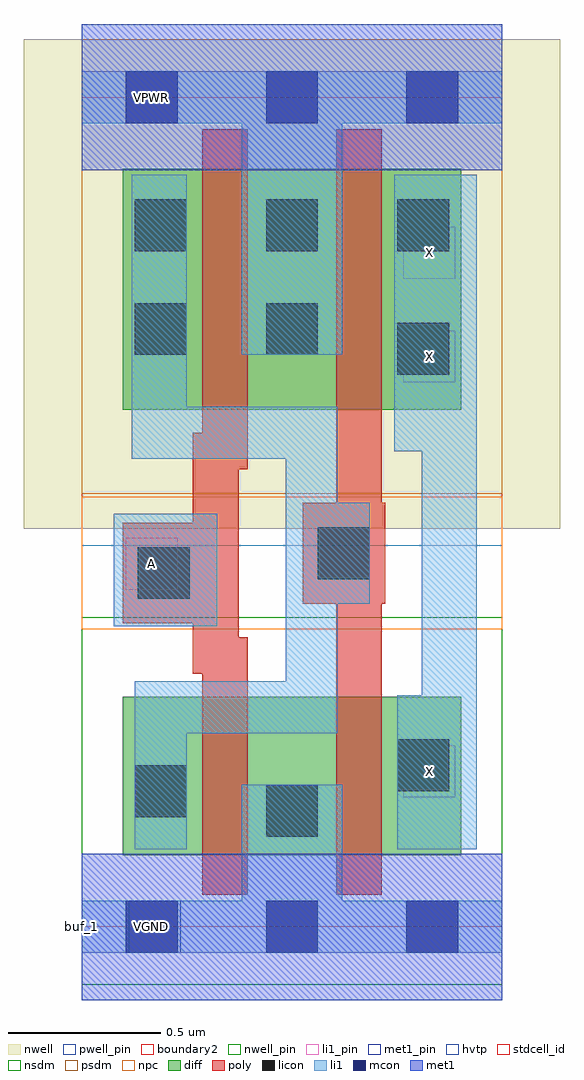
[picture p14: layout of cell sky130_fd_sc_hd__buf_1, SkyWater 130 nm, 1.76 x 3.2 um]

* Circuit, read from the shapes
.subckt sky130_fd_sc_hd__buf_1 A VGND VNB VPB VPWR X
XM1 VGND A n1 VNB sky130_fd_pr__nfet_01v8 w=0.52 l=0.15
XM2 X n1 VGND VNB sky130_fd_pr__nfet_01v8 w=0.52 l=0.15
XM3 VPWR A n1 VPB sky130_fd_pr__pfet_01v8_hvt w=0.79 l=0.15
XM4 X n1 VPWR VPB sky130_fd_pr__pfet_01v8_hvt w=0.79 l=0.15
.ends

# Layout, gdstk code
import gdstk
lib = gdstk.Library(unit=1e-6, precision=1e-09)
def R(c, l, rs):  # rectangles x0, y0, x1, y1
    for r in rs: c.add(gdstk.rectangle(r[:2], r[2:], *l))
def A(c, l, x, y, w, h, nx, ny, dx, dy):  # array of equal rectangles
    R(c, l, [(x+i*dx, y+j*dy, x+i*dx+w, y+j*dy+h) for i in range(nx) for j in range(ny)])
def P(c, l, *ps):  # polygons
    for p in ps: c.add(gdstk.Polygon(p, *l))
nwell_pin = (64, 16)
nwell = (64, 20)
diff = (65, 20)
poly = (66, 20)
licon = (66, 44)
li1_pin = (67, 16)
li1 = (67, 20)
mcon = (67, 44)
met1_pin = (68, 16)
met1 = (68, 20)
hvtp = (78, 44)
stdcell_id = (81, 4)
nsdm = (93, 44)
psdm = (94, 20)
npc = (95, 20)
pwell_pin = (122, 16)
boundary2 = (236, 0)

sky130_fd_sc_hd__buf_1 = lib.new_cell('sky130_fd_sc_hd__buf_1')
R(sky130_fd_sc_hd__buf_1, nwell_pin, [(0.145,2.635,0.315,2.805)])
R(sky130_fd_sc_hd__buf_1, nwell, [(-0.19,1.305,1.57,2.91)])
R(sky130_fd_sc_hd__buf_1, diff, [(0.135,0.235,1.245,0.755), (0.135,1.695,1.245,2.485)])
P(sky130_fd_sc_hd__buf_1, poly, [(0.995,1.39),(0.985,1.39),(0.985,2.615),(0.835,2.615),(0.835,1.39),(0.725,1.39),(0.725,1.06),(0.835,1.06),(0.835,0.105),(0.985,0.105),(0.985,1.06),(0.995,1.06)],
  [(0.545,0.95),(0.515,0.95),(0.515,1.5),(0.545,1.5),(0.545,2.615),(0.395,2.615),(0.395,1.62),(0.365,1.62),(0.365,1.325),(0.135,1.325),(0.135,0.995),(0.365,0.995),(0.365,0.83),(0.395,0.83),(0.395,0.105),(0.545,0.105)])
A(sky130_fd_sc_hd__buf_1, licon, 0.175, 2.215, 0.17, 0.17, 3, 1, 0.43, 0)
R(sky130_fd_sc_hd__buf_1, licon, [(0.605,0.295,0.775,0.465), (0.175,0.36,0.345,0.53), (1.035,0.445,1.205,0.615), (0.185,1.075,0.355,1.245), (0.775,1.14,0.945,1.31), (1.035,1.81,1.205,1.98), (0.175,1.875,0.345,2.045), (0.605,1.875,0.775,2.045)])
R(sky130_fd_sc_hd__buf_1, li1_pin, [(0.155,-0.085,0.325,0.085), (1.055,0.425,1.225,0.595), (0.145,1.105,0.315,1.275), (1.055,1.785,1.225,1.955), (1.055,2.125,1.225,2.295), (0.145,2.635,0.315,2.805)])
R(sky130_fd_sc_hd__buf_1, li1, [(0.105,0.985,0.445,1.355)])
P(sky130_fd_sc_hd__buf_1, li1, [(1.295,2.465),(1.025,2.465),(1.025,1.56),(1.115,1.56),(1.115,0.76),(1.035,0.76),(1.035,0.255),(1.295,0.255)],
  [(1.38,0.085),(0.855,0.085),(0.855,0.465),(0.525,0.465),(0.525,0.085),(0,0.085),(0,-0.085),(1.38,-0.085)],
  [(0.945,1.39),(0.84,1.39),(0.84,1.705),(0.345,1.705),(0.345,2.465),(0.165,2.465),(0.165,1.535),(0.67,1.535),(0.67,0.805),(0.175,0.805),(0.175,0.255),(0.345,0.255),(0.345,0.635),(0.84,0.635),(0.84,1.06),(0.945,1.06)],
  [(1.38,2.805),(0,2.805),(0,2.635),(0.525,2.635),(0.525,1.875),(0.855,1.875),(0.855,2.635),(1.38,2.635)])
A(sky130_fd_sc_hd__buf_1, mcon, 0.145, -0.085, 0.17, 0.17, 3, 2, 0.46, 2.72)
R(sky130_fd_sc_hd__buf_1, met1_pin, [(0.155,-0.085,0.325,0.085), (0.145,2.635,0.315,2.805)])
R(sky130_fd_sc_hd__buf_1, hvtp, [(0,1.25,1.38,2.72)])
R(sky130_fd_sc_hd__buf_1, stdcell_id, [(0,0,1.38,2.72)])
R(sky130_fd_sc_hd__buf_1, nsdm, [(0,-0.19,1.38,1.015)])
R(sky130_fd_sc_hd__buf_1, psdm, [(0,1.42,1.38,2.91)])
R(sky130_fd_sc_hd__buf_1, npc, [(0,0.975,1.38,1.41)])
R(sky130_fd_sc_hd__buf_1, pwell_pin, [(0.155,-0.085,0.325,0.085)])
R(sky130_fd_sc_hd__buf_1, boundary2, [(0,0,1.38,2.72)])
sky130_fd_sc_hd__buf_1.add(gdstk.FlexPath([(0,0),(1.38,0)], 0.48, ends="flush", simple_path=True, layer=68, datatype=20))  # met1
sky130_fd_sc_hd__buf_1.add(gdstk.FlexPath([(0,2.72),(1.38,2.72)], 0.48, ends="flush", simple_path=True, layer=68, datatype=20))  # met1
sky130_fd_sc_hd__buf_1.add(gdstk.Label('VGND', (0.23,0), layer=68, texttype=5))
sky130_fd_sc_hd__buf_1.add(gdstk.Label('VPWR', (0.23,2.72), layer=68, texttype=5))
sky130_fd_sc_hd__buf_1.add(gdstk.Label('VPWR', (0.23,2.72), layer=67, texttype=5))
sky130_fd_sc_hd__buf_1.add(gdstk.Label('VGND', (0.23,0), layer=67, texttype=5))
sky130_fd_sc_hd__buf_1.add(gdstk.Label('X', (1.14,0.51), layer=67, texttype=5))
sky130_fd_sc_hd__buf_1.add(gdstk.Label('X', (1.14,1.87), layer=67, texttype=5))
sky130_fd_sc_hd__buf_1.add(gdstk.Label('X', (1.14,2.21), layer=67, texttype=5))
sky130_fd_sc_hd__buf_1.add(gdstk.Label('A', (0.23,1.19), layer=67, texttype=5))
sky130_fd_sc_hd__buf_1.add(gdstk.Label('VPB', (0.23,2.72), layer=64, texttype=5))
sky130_fd_sc_hd__buf_1.add(gdstk.Label('VNB', (0.23,0), layer=64, texttype=59))
sky130_fd_sc_hd__buf_1.add(gdstk.Label('buf_1', (0,0), layer=83, texttype=44))

lib.write_gds('sky130_fd_sc_hd__buf_1.gds')
